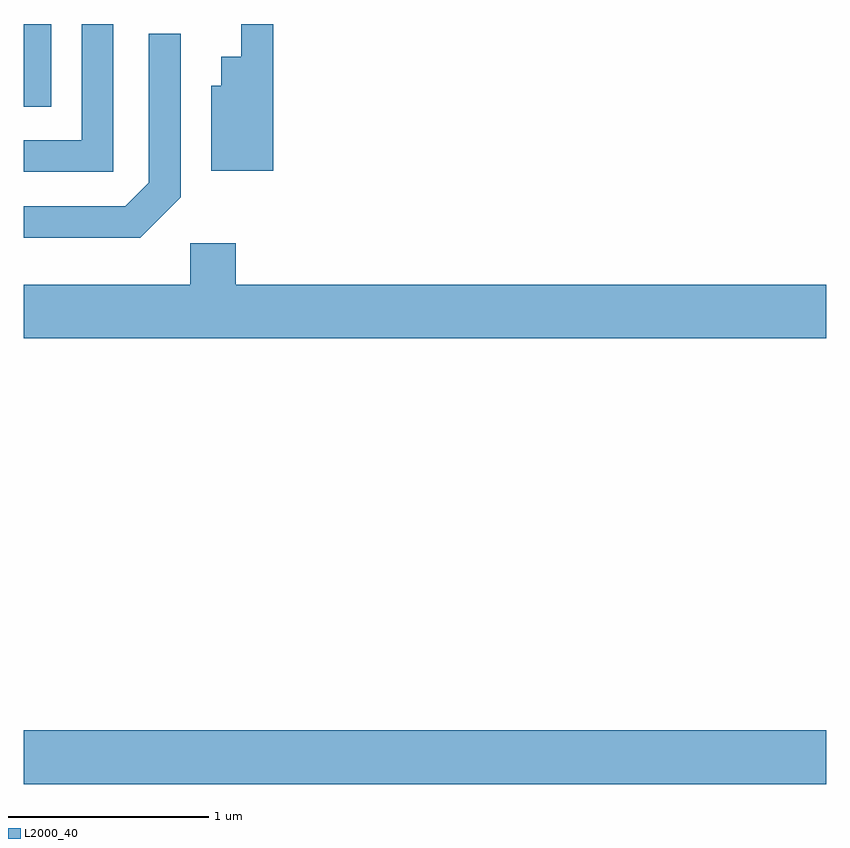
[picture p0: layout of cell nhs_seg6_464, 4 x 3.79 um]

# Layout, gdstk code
import gdstk
lib = gdstk.Library(unit=1e-6, precision=1e-09)
def R(c, l, rs):  # rectangles x0, y0, x1, y1
    for r in rs: c.add(gdstk.rectangle(r[:2], r[2:], *l))
def P(c, l, *ps):  # polygons
    for p in ps: c.add(gdstk.Polygon(p, *l))
L2000_40 = (2000, 40)

nhs_seg6_464 = lib.new_cell('nhs_seg6_464')
R(nhs_seg6_464, L2000_40, [(197.611,1654.376,201.611,1654.644), (197.611,1657.751,197.749,1658.162)])
P(nhs_seg6_464, L2000_40, [(198.854,1658.162),(198.696,1658.162),(198.696,1657.999),(198.596,1657.999),(198.596,1657.854),(198.546,1657.854),(198.546,1657.431),(198.854,1657.431)],
  [(198.059,1658.162),(197.901,1658.162),(197.901,1657.584),(197.611,1657.584),(197.611,1657.426),(198.059,1657.426)],
  [(198.394,1657.299),(198.394,1658.113),(198.236,1658.113),(198.236,1657.372),(198.119,1657.254),(197.611,1657.254),(197.611,1657.096),(198.192,1657.096)],
  [(201.611,1656.864),(198.669,1656.864),(198.669,1657.069),(198.441,1657.069),(198.441,1656.864),(197.611,1656.864),(197.611,1656.596),(201.611,1656.596)])

lib.write_gds('nhs_seg6_464.gds')
